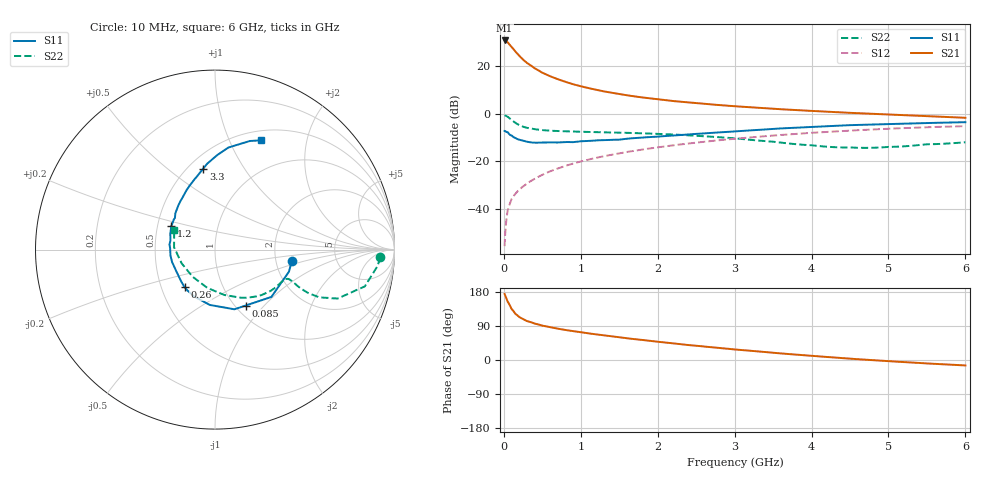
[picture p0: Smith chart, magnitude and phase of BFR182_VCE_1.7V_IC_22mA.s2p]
! Infineon Technologies  Discrete & RF Semiconductors
! BFR182
! VCE =  1.7 V,  IC =  22 mA
! Common Emitter S-Parameters:  Nov 2015
# GHz  S  MA  R  50
!  f  S11  S21  S12  S22
! GHz  MAG  ANG  MAG  ANG  MAG  ANG  MAG  ANG
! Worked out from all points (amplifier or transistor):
!   210 points, 10 MHz to 6 GHz, reference 50 ohm
!   highest |S21| = 30.5 dB at 10 MHz (marker M1)
!   |S21| within 3 dB of that: start of sweep to 109.1 MHz
!   unconditionally stable (mu >= 1): start of sweep to 10.51 MHz; 366.1 MHz to 2.843 GHz
!   at 185 MHz: K = 0.79, MSG = 28.5 dB, |S12| = -32.3 dB
!   at 1.52 GHz: K = 1.10, MAG = 10.4 dB, |S12| = -16.5 dB
!   at 6 GHz: K = 0.94, MSG = 1.7 dB, |S12| = -5.3 dB
!   S11 on the Smith chart (normalised r, x): 10 MHz: 2.45, -0.39; 85 MHz: 1.11, -0.79; 260 MHz: 0.66, -0.30; 1.2 GHz: 0.59, +0.17; 3.3 GHz: 0.59, +0.68; 6 GHz: 0.61, +1.32
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0.01  0.4329 -8.6  33.67 174.3  0.0017 90.9  0.9229 -2.7
0.02  0.43 -16.6  33.06 168.8  0.0035 79.1  0.9099 -5.8
0.05  0.4102 -40.0  30.79 153.9  0.0094 75.5  0.8596 -13.8
0.085  0.3552 -61.4  26.3 141.5  0.0142 70.3  0.7706 -19.1
0.1  0.3497 -72.0  24.84 134.9  0.0163 69.0  0.7349 -21.8
0.15  0.3097 -95.3  19.74 121.8  0.0211 68.0  0.6387 -24.6
0.2  0.2861 -113.8  16.06 113.4  0.0258 69.2  0.5743 -25.0
0.26  0.2695 -129.0  12.96 106.5  0.0309 69.7  0.5256 -24.4
0.3  0.2586 -136.8  11.46 102.8  0.0346 70.3  0.5037 -23.8
0.4  0.2467 -152.3  8.851 96.2  0.0434 71.7  0.4716 -22.6
0.5  0.249 -164.0  7.144 90.7  0.0526 72.9  0.4511 -21.9
0.7  0.249 179.7  5.229 82.6  0.0712 73.2  0.4316 -22.2
0.9  0.2532 168.4  4.096 76.0  0.0903 72.7  0.4219 -23.4
1.02  0.2646 160.4  3.65 72.5  0.1017 72.2  0.4168 -24.7
1.2  0.276 152.0  3.14 67.5  0.1191 71.3  0.4098 -26.8
1.6  0.2996 137.5  2.411 57.4  0.1578 68.2  0.3962 -32.6
2.02  0.3319 125.4  1.964 47.8  0.1989 64.4  0.3759 -39.8
3.1  0.4338 101.5  1.389 26.2  0.3073 52.7  0.2934 -64.6
3.3  0.4565 98.2  1.321 22.7  0.3273 50.2  0.2739 -71.0
4.1  0.5358 87.3  1.115 9.4  0.405 40.2  0.2095 -106.4
5.1  0.609 76.0  0.945 -4.3  0.4902 27.0  0.203 -163.3
6  0.6609 67.1  0.817 -14.4  0.5463 14.2  0.252 154.5
